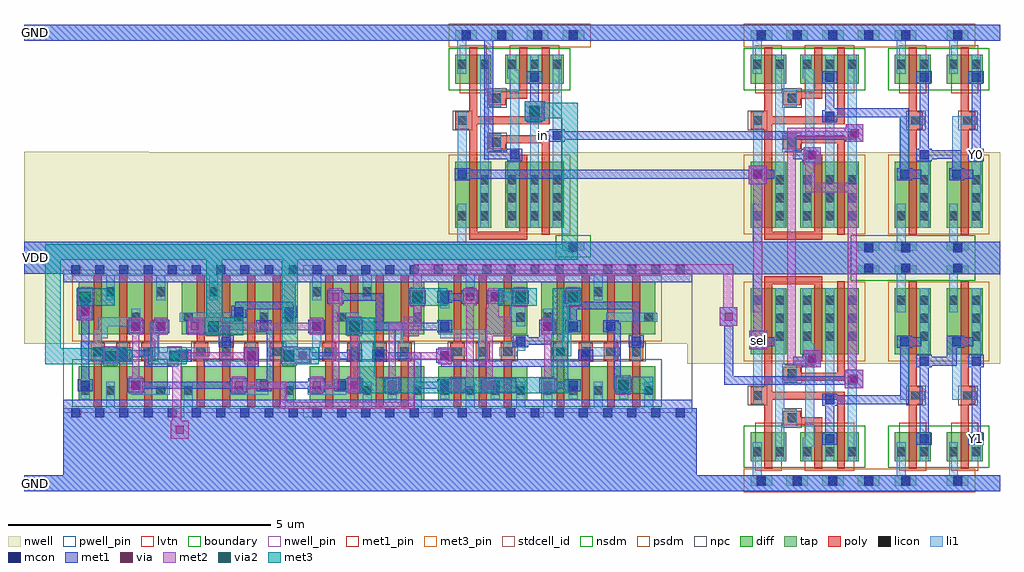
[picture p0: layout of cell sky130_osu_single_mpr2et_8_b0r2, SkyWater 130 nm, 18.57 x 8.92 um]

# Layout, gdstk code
import gdstk
lib = gdstk.Library(unit=1e-6, precision=1e-09)
def R(c, l, rs):  # rectangles x0, y0, x1, y1
    for r in rs: c.add(gdstk.rectangle(r[:2], r[2:], *l))
def A(c, l, x, y, w, h, nx, ny, dx, dy):  # array of equal rectangles
    R(c, l, [(x+i*dx, y+j*dy, x+i*dx+w, y+j*dy+h) for i in range(nx) for j in range(ny)])
nwell_pin = (64, 16)
nwell = (64, 20)
diff = (65, 20)
tap = (65, 44)
poly = (66, 20)
licon = (66, 44)
li1 = (67, 20)
mcon = (67, 44)
met1_pin = (68, 16)
met1 = (68, 20)
via = (68, 44)
met2 = (69, 20)
via2 = (69, 44)
met3_pin = (70, 16)
met3 = (70, 20)
stdcell_id = (81, 4)
nsdm = (93, 44)
psdm = (94, 20)
npc = (95, 20)
pwell_pin = (122, 16)
lvtn = (125, 44)
boundary = (235, 4)

sky130_osu_sc_12t_hs__mu = lib.new_cell('sky130_osu_sc_12T_hs__mux2_1')
R(sky130_osu_sc_12t_hs__mu, nwell, [(-0.045,2.425,2.765,4.515)])
R(sky130_osu_sc_12t_hs__mu, diff, [(0.135,0.575,0.815,1.125), (1.085,0.575,2.195,1.125), (0.135,2.605,0.815,3.865), (1.085,2.605,2.195,3.865)])
A(sky130_osu_sc_12t_hs__mu, tap, 0.135, 0.105, 0.41, 0.2, 4, 1, 0.68, 0)
R(sky130_osu_sc_12t_hs__mu, tap, [(2.17,4.135,2.585,4.305)])
R(sky130_osu_sc_12t_hs__mu, poly, [(0.4,0.445,0.55,1.66), (1.35,0.445,1.5,1.265), (1.78,0.445,1.93,1.745), (0.76,1.265,1.5,1.415), (0.76,1.415,1.09,1.535), (0.135,1.66,0.55,1.745), (0.135,1.745,1.93,1.895), (0.135,1.895,0.55,1.99), (0.4,1.99,0.55,3.94), (0.76,2.105,1.93,2.255), (0.76,2.255,1.09,2.375), (1.78,2.255,1.93,3.995), (1.35,2.475,1.5,3.94), (0.4,3.94,1.5,4.09)])
A(sky130_osu_sc_12t_hs__mu, licon, 0.255, 0.135, 0.17, 0.17, 4, 1, 0.68, 0)
A(sky130_osu_sc_12t_hs__mu, licon, 1.125, 0.67, 0.17, 0.17, 3, 2, 0.43, 2.2)
A(sky130_osu_sc_12t_hs__mu, licon, 0.605, 2.87, 0.17, 0.17, 1, 3, 0, 0.34)
A(sky130_osu_sc_12t_hs__mu, licon, 1.125, 3.21, 0.17, 0.17, 3, 2, 0.43, 0.34)
R(sky130_osu_sc_12t_hs__mu, licon, [(0.175,0.67,0.345,0.84), (0.605,0.67,0.775,0.84), (0.84,1.315,1.01,1.485), (0.185,1.74,0.355,1.91), (0.84,2.155,1.01,2.325), (0.175,3.55,0.345,3.72), (2.295,4.135,2.465,4.305)])
R(sky130_osu_sc_12t_hs__mu, li1, [(0,0,2.75,0.305), (0.175,0.305,0.345,0.935), (0.605,0.575,0.775,1.235), (1.125,0.575,1.295,0.855), (1.555,0.575,1.725,1.085), (1.985,0.575,2.155,3.865), (1.125,0.855,1.35,1.025), (1.18,1.025,1.35,2.635), (0.605,1.235,1.01,1.565), (0.605,1.565,0.775,2.075), (1.555,1.655,1.725,3.865), (0.185,1.66,0.355,2.935), (0.605,2.075,1.01,2.405), (0.605,2.405,0.775,3.865), (1.125,2.635,1.35,2.805), (1.125,2.805,1.295,3.865), (0.175,3.405,0.345,4.135), (0,4.135,2.75,4.44)])
A(sky130_osu_sc_12t_hs__mu, mcon, 0.255, 0.105, 0.17, 0.17, 4, 1, 0.68, 0)
R(sky130_osu_sc_12t_hs__mu, mcon, [(1.555,0.915,1.725,1.085), (1.555,1.655,1.725,1.825), (1.985,2.025,2.155,2.195), (1.18,2.395,1.35,2.565), (0.185,2.765,0.355,2.935), (2.295,4.165,2.465,4.335)])
R(sky130_osu_sc_12t_hs__mu, met1, [(0,0,2.75,0.305), (1.495,0.885,1.785,1.115), (1.555,1.115,1.725,1.625), (1.495,1.625,1.785,1.855), (1.925,1.995,2.215,2.025), (1.755,2.025,2.215,2.195), (1.925,2.195,2.215,2.225), (1.12,2.365,1.41,2.395), (0.95,2.395,1.41,2.565), (1.12,2.565,1.41,2.595), (0.125,2.735,0.415,2.765), (0.125,2.765,0.585,2.935), (0.125,2.935,0.415,2.965), (0,4.135,2.75,4.44)])
R(sky130_osu_sc_12t_hs__mu, nsdm, [(0.01,0.45,2.32,1.25), (2.045,4.01,2.71,4.43)])
R(sky130_osu_sc_12t_hs__mu, psdm, [(0.01,-0.02,2.71,0.43), (0.01,2.48,2.32,3.99)])
R(sky130_osu_sc_12t_hs__mu, npc, [(0.74,1.215,1.11,1.585), (0.085,1.64,0.455,2.01), (0.74,2.055,1.11,2.425)])
R(sky130_osu_sc_12t_hs__mu, lvtn, [(0.22,0.395,0.73,1.305), (1.17,0.395,2.11,1.305)])
sky130_osu_sc_12t_hs__mu.add(gdstk.Label('S0', (0.27,2.85), layer=68, texttype=5))
sky130_osu_sc_12t_hs__mu.add(gdstk.Label('Y', (1.64,1.74), layer=68, texttype=5))
sky130_osu_sc_12t_hs__mu.add(gdstk.Label('A0', (1.265,2.48), layer=68, texttype=5))
sky130_osu_sc_12t_hs__mu.add(gdstk.Label('A1', (2.07,2.11), layer=68, texttype=5))
sky130_osu_sc_12t_hs__mu.add(gdstk.Label('VDD', (2.38,4.2), layer=68, texttype=5))
sky130_osu_sc_12t_hs__mu.add(gdstk.Label('GND ', (0.34,0.24), layer=68, texttype=5))

sky130_osu_sc_12t_hs__fi = lib.new_cell('sky130_osu_sc_12T_hs__fill_2')
R(sky130_osu_sc_12t_hs__fi, nwell, [(-0.035,2.425,0.25,4.485)])
R(sky130_osu_sc_12t_hs__fi, li1, [(0,0,0.22,0.305), (0,4.135,0.22,4.44)])
R(sky130_osu_sc_12t_hs__fi, met1, [(0,0,0.22,0.305), (0,4.135,0.22,4.44)])
sky130_osu_sc_12t_hs__fi.add(gdstk.Label('vdd', (0.11,4.28), layer=68, texttype=5))
sky130_osu_sc_12t_hs__fi.add(gdstk.Label('gnd', (0.115,0.14), layer=68, texttype=5))

c_sky130_osu_sc_12t_hs__fi = lib.new_cell('sky130_osu_sc_12T_hs__fill_8')
R(c_sky130_osu_sc_12t_hs__fi, nwell, [(-0.045,2.425,0.895,4.485)])
R(c_sky130_osu_sc_12t_hs__fi, li1, [(0,0,0.88,0.305), (0,4.135,0.88,4.44)])
R(c_sky130_osu_sc_12t_hs__fi, met1, [(0,0,0.88,0.305), (0,4.135,0.88,4.44)])
c_sky130_osu_sc_12t_hs__fi.add(gdstk.Label('vdd', (0.555,4.295), layer=68, texttype=5))
c_sky130_osu_sc_12t_hs__fi.add(gdstk.Label('gnd', (0.56,0.14), layer=68, texttype=5))

sky130_osu_sc_12t_hs__in = lib.new_cell('sky130_osu_sc_12T_hs__inv_1')
R(sky130_osu_sc_12t_hs__in, nwell, [(-0.05,2.425,0.995,4.515)])
R(sky130_osu_sc_12t_hs__in, diff, [(0.135,0.575,0.815,1.125), (0.135,2.605,0.815,3.865)])
R(sky130_osu_sc_12t_hs__in, tap, [(0.135,0.105,0.545,0.305), (0.13,4.135,0.55,4.305)])
R(sky130_osu_sc_12t_hs__in, poly, [(0.4,0.445,0.55,1.66), (0.4,1.66,0.67,1.99), (0.4,1.99,0.55,3.995)])
A(sky130_osu_sc_12t_hs__in, licon, 0.605, 2.87, 0.17, 0.17, 1, 3, 0, 0.34)
R(sky130_osu_sc_12t_hs__in, licon, [(0.255,0.135,0.425,0.305), (0.175,0.67,0.345,0.84), (0.605,0.67,0.775,0.84), (0.45,1.74,0.62,1.91), (0.175,3.55,0.345,3.72), (0.255,4.135,0.425,4.305)])
R(sky130_osu_sc_12t_hs__in, li1, [(0,0,0.99,0.305), (0.175,0.305,0.345,0.935), (0.605,0.575,0.775,1.085), (0.235,1.74,0.7,1.91), (0.235,1.91,0.405,2.935), (0.605,2.395,0.775,3.865), (0.175,3.405,0.345,4.135), (0,4.135,0.99,4.44)])
R(sky130_osu_sc_12t_hs__in, mcon, [(0.255,0.105,0.425,0.275), (0.605,0.915,0.775,1.085), (0.605,2.395,0.775,2.565), (0.235,2.765,0.405,2.935), (0.255,4.165,0.425,4.335)])
R(sky130_osu_sc_12t_hs__in, met1, [(0,0,0.99,0.305), (0.545,0.885,0.835,1.115), (0.605,1.115,0.775,2.365), (0.545,2.365,0.835,2.595), (0.175,2.735,0.465,2.765), (0.175,2.765,0.635,2.935), (0.175,2.935,0.465,2.965), (0,4.135,0.99,4.44)])
R(sky130_osu_sc_12t_hs__in, nsdm, [(0.01,0.45,0.94,1.25), (0.005,4.01,0.675,4.43)])
R(sky130_osu_sc_12t_hs__in, psdm, [(0.01,-0.02,0.67,0.43), (0.01,2.48,0.94,3.99)])
R(sky130_osu_sc_12t_hs__in, npc, [(0.35,1.64,0.72,2.01)])
R(sky130_osu_sc_12t_hs__in, lvtn, [(0.22,0.395,0.73,1.305)])
sky130_osu_sc_12t_hs__in.add(gdstk.Label('Y', (0.755,1.725), layer=68, texttype=5))
sky130_osu_sc_12t_hs__in.add(gdstk.Label('A', (0.32,2.85), layer=68, texttype=5))
sky130_osu_sc_12t_hs__in.add(gdstk.Label('VDD', (0.34,4.2), layer=68, texttype=5))
sky130_osu_sc_12t_hs__in.add(gdstk.Label('GND', (0.34,0.24), layer=68, texttype=5))

scs130hd_mpr2et_8 = lib.new_cell('scs130hd_mpr2et_8')
A(scs130hd_mpr2et_8, nwell_pin, 2.125, 2.635, 0.17, 0.17, 3, 1, 2.44, 0)
R(scs130hd_mpr2et_8, nwell_pin, [(0.165,2.635,0.335,2.805), (8.965,2.635,9.135,2.805)])
R(scs130hd_mpr2et_8, nwell, [(-0.24,1.305,12.2,2.91)])
R(scs130hd_mpr2et_8, diff, [(0.29,0.235,1.98,0.885), (2.25,0.235,4.42,0.885), (4.69,0.235,6.86,0.885), (7.13,0.235,8.82,0.885), (9.09,0.235,11.26,0.885), (0.29,1.485,1.98,2.485), (2.25,1.485,4.42,2.485), (4.69,1.485,6.86,2.485), (7.13,1.485,8.82,2.485), (9.09,1.485,11.26,2.485)])
A(scs130hd_mpr2et_8, poly, 0.58, 0.105, 0.15, 0.89, 3, 1, 0.48, 0)
A(scs130hd_mpr2et_8, poly, 2.54, 0.105, 0.15, 0.89, 4, 1, 0.48, 0)
A(scs130hd_mpr2et_8, poly, 4.98, 0.105, 0.15, 0.89, 4, 1, 0.48, 0)
A(scs130hd_mpr2et_8, poly, 7.42, 0.105, 0.15, 0.89, 3, 1, 0.48, 0)
A(scs130hd_mpr2et_8, poly, 9.38, 0.105, 0.15, 0.89, 4, 1, 0.48, 0)
A(scs130hd_mpr2et_8, poly, 0.52, 0.995, 0.27, 0.33, 3, 1, 0.48, 0)
A(scs130hd_mpr2et_8, poly, 2.48, 0.995, 0.27, 0.33, 4, 1, 0.48, 0)
A(scs130hd_mpr2et_8, poly, 4.92, 0.995, 0.27, 0.33, 4, 1, 0.48, 0)
A(scs130hd_mpr2et_8, poly, 7.36, 0.995, 0.27, 0.33, 3, 1, 0.48, 0)
A(scs130hd_mpr2et_8, poly, 9.32, 0.995, 0.27, 0.33, 4, 1, 0.48, 0)
A(scs130hd_mpr2et_8, poly, 0.58, 1.325, 0.15, 1.29, 3, 1, 0.48, 0)
A(scs130hd_mpr2et_8, poly, 2.54, 1.325, 0.15, 1.29, 4, 1, 0.48, 0)
A(scs130hd_mpr2et_8, poly, 4.98, 1.325, 0.15, 1.29, 4, 1, 0.48, 0)
A(scs130hd_mpr2et_8, poly, 7.42, 1.325, 0.15, 1.29, 3, 1, 0.48, 0)
A(scs130hd_mpr2et_8, poly, 9.38, 1.325, 0.15, 1.29, 4, 1, 0.48, 0)
A(scs130hd_mpr2et_8, licon, 2.29, 0.335, 0.17, 0.17, 3, 1, 0.96, 0)
A(scs130hd_mpr2et_8, licon, 5.69, 0.335, 0.17, 0.17, 3, 1, 0.48, 0)
A(scs130hd_mpr2et_8, licon, 7.17, 0.335, 0.17, 0.17, 4, 1, 0.48, 0)
A(scs130hd_mpr2et_8, licon, 9.13, 0.335, 0.17, 0.17, 5, 1, 0.48, 0)
A(scs130hd_mpr2et_8, licon, 0.57, 1.075, 0.17, 0.17, 3, 1, 0.48, 0)
A(scs130hd_mpr2et_8, licon, 2.53, 1.075, 0.17, 0.17, 4, 1, 0.48, 0)
A(scs130hd_mpr2et_8, licon, 4.97, 1.075, 0.17, 0.17, 4, 1, 0.48, 0)
A(scs130hd_mpr2et_8, licon, 7.41, 1.075, 0.17, 0.17, 3, 1, 0.48, 0)
A(scs130hd_mpr2et_8, licon, 9.37, 1.075, 0.17, 0.17, 4, 1, 0.48, 0)
A(scs130hd_mpr2et_8, licon, 3.25, 1.725, 0.17, 0.17, 3, 1, 0.48, 0)
R(scs130hd_mpr2et_8, licon, [(0.33,0.335,0.5,0.505), (0.81,0.335,0.98,0.505), (1.77,0.335,1.94,0.505), (4.73,0.335,4.9,0.505), (1.29,1.725,1.46,1.895), (2.29,1.725,2.46,1.895), (5.21,1.725,5.38,1.895), (6.65,1.725,6.82,1.895), (8.61,1.725,8.78,1.895), (9.13,1.725,9.3,1.895), (11.05,1.725,11.22,1.895), (0.33,1.865,0.5,2.035), (7.17,2.065,7.34,2.235), (0.81,2.215,0.98,2.385), (1.77,2.215,1.94,2.385), (2.77,2.215,2.94,2.385), (4.73,2.215,4.9,2.385), (5.69,2.215,5.86,2.385), (7.65,2.215,7.82,2.385), (10.09,2.215,10.26,2.385)])
A(scs130hd_mpr2et_8, li1, 9.13, 0.085, 0.17, 0.5, 3, 1, 0.96, 0)
R(scs130hd_mpr2et_8, li1, [(0,-0.085,11.96,0.085), (0.81,0.085,0.98,0.585), (2.29,0.085,2.46,0.585), (4.21,0.085,4.38,0.585), (5.69,0.085,5.86,0.585), (6.65,0.085,6.82,0.585), (7.65,0.085,7.82,0.585), (8.61,0.085,8.78,0.585), (0.33,0.255,0.5,0.605), (6.17,0.255,6.34,0.605), (7.17,0.255,7.34,0.605), (8.13,0.255,8.3,0.605), (9.61,0.255,9.78,0.605), (10.57,0.255,10.74,0.605), (1.29,0.335,2.02,0.505), (3.17,0.335,3.9,0.505), (4.65,0.335,5.38,0.505), (1.29,0.505,1.46,0.605), (3.73,0.505,3.9,0.605), (5.21,0.505,5.38,0.605), (0.57,0.995,0.74,1.075), (1.05,0.995,1.22,1.325), (2.205,0.995,2.375,1.075), (3.01,0.995,3.18,1.445), (3.49,0.995,3.66,1.325), (4.21,0.995,4.38,1.075), (5.45,0.995,5.62,1.325), (5.93,0.995,6.1,1.325), (6.41,0.995,6.58,1.075), (7.17,0.995,7.34,1.075), (7.89,0.995,8.06,1.415), (9.85,0.995,10.02,1.075), (10.81,0.995,10.98,1.445), (0.33,1.075,0.74,1.345), (1.45,1.075,1.82,1.245), (2.205,1.075,2.78,1.245), (3.89,1.075,4.38,1.245), (4.73,1.075,5.22,1.245), (6.29,1.075,6.58,1.325), (7.17,1.075,7.66,1.245), (8.29,1.075,8.62,1.175), (9.29,1.075,9.66,1.245), (9.85,1.075,10.58,1.245), (8.29,1.175,8.78,1.245), (1.65,1.245,1.82,1.555), (4.73,1.245,4.9,1.725), (8.37,1.245,8.78,1.345), (9.49,1.245,9.66,1.555), (9.85,1.245,10.02,1.325), (6.29,1.325,6.46,1.555), (0.57,1.345,0.74,1.415), (8.61,1.345,8.78,1.445), (0.57,1.415,0.84,1.585), (7.17,1.415,8.06,1.585), (1.29,1.555,1.46,1.64), (1.65,1.555,1.94,1.725), (3.73,1.555,3.9,1.975), (5.45,1.555,6.46,1.725), (9.13,1.555,9.3,1.975), (9.49,1.555,9.78,1.725), (10.33,1.555,10.5,1.725), (0.67,1.585,0.84,1.64), (7.17,1.585,7.34,1.725), (0.67,1.64,1.46,1.81), (4.21,1.645,4.38,2.005), (6.65,1.645,6.82,2.285), (8.61,1.645,8.78,1.725), (2.21,1.725,3.5,1.895), (5.13,1.725,5.62,1.895), (8.49,1.725,8.78,2.115), (9.49,1.725,9.66,2.115), (10.33,1.725,11.3,1.895), (0.33,1.785,0.5,2.145), (1.29,1.81,1.46,1.975), (3.25,1.895,3.42,2.005), (7.17,1.985,7.34,2.315), (8.13,2.115,8.78,2.285), (9.49,2.115,9.78,2.285), (0.81,2.135,0.98,2.635), (1.77,2.135,1.94,2.635), (2.77,2.135,2.94,2.635), (4.73,2.135,4.9,2.635), (5.69,2.135,5.86,2.635), (7.65,2.135,7.82,2.635), (10.09,2.135,10.26,2.635), (0,2.635,11.96,2.805)])
A(scs130hd_mpr2et_8, mcon, 0.145, -0.085, 0.17, 0.17, 26, 2, 0.46, 2.72)
A(scs130hd_mpr2et_8, mcon, 7.17, 0.435, 0.17, 0.17, 1, 4, 0, 0.56)
R(scs130hd_mpr2et_8, mcon, [(0.33,0.435,0.5,0.605), (1.29,0.435,1.46,0.605), (3.73,0.435,3.9,0.605), (5.21,0.435,5.38,0.605), (6.17,0.435,6.34,0.605), (8.13,0.435,8.3,0.605), (9.61,0.435,9.78,0.605), (10.57,0.435,10.74,0.605), (1.05,0.995,1.22,1.165), (2.205,0.995,2.375,1.165), (3.49,0.995,3.66,1.165), (4.21,0.995,4.38,1.165), (5.45,0.995,5.62,1.165), (5.93,0.995,6.1,1.165), (9.85,0.995,10.02,1.165), (3.01,1.275,3.18,1.445), (8.61,1.275,8.78,1.445), (10.81,1.275,10.98,1.445), (1.29,1.555,1.46,1.725), (1.77,1.555,1.94,1.725), (3.73,1.555,3.9,1.725), (4.73,1.555,4.9,1.725), (5.45,1.555,5.62,1.725), (9.13,1.555,9.3,1.725), (9.61,1.555,9.78,1.725), (10.33,1.555,10.5,1.725), (3.25,1.835,3.42,2.005), (4.21,1.835,4.38,2.005), (0.33,1.975,0.5,2.145), (6.65,2.115,6.82,2.285), (8.13,2.115,8.3,2.285), (8.61,2.115,8.78,2.285), (9.61,2.115,9.78,2.285)])
R(scs130hd_mpr2et_8, met1_pin, [(0.155,-0.085,0.325,0.085), (0.155,2.635,0.325,2.805)])
R(scs130hd_mpr2et_8, met1, [(0,-0.24,11.96,0.24), (1.215,0.39,1.535,0.45), (3.175,0.39,3.495,0.45), (4.655,0.39,4.975,0.45), (5.375,0.39,5.695,0.405), (6.095,0.39,6.415,0.65), (7.335,0.39,7.655,0.405), (7.935,0.39,8.615,0.65), (9.055,0.39,9.375,0.45), (10.495,0.39,10.815,0.45), (0.27,0.405,0.56,0.635), (3.67,0.405,3.96,0.45), (5.15,0.405,5.695,0.635), (7.11,0.405,7.655,0.45), (9.55,0.405,9.84,0.45), (1.215,0.45,3.495,0.59), (3.67,0.45,4.975,0.59), (6.665,0.45,7.655,0.59), (9.055,0.45,9.84,0.59), (10.465,0.45,10.815,0.65), (1.215,0.59,1.535,0.65), (3.175,0.59,3.495,0.65), (3.67,0.59,4.005,0.635), (4.655,0.59,4.975,0.65), (6.665,0.59,6.805,1.01), (7.11,0.59,7.655,0.635), (9.055,0.59,9.375,0.65), (9.55,0.59,9.84,0.635), (0.335,0.635,0.49,1.76), (3.865,0.635,4.005,1.525), (5.375,0.635,5.695,0.65), (7.335,0.635,7.655,0.65), (10.465,0.65,10.605,1.525), (1.545,0.87,2.185,0.965), (2.665,0.87,3.72,1.01), (7.185,0.87,10.005,0.95), (0.735,0.95,1.055,0.965), (4.395,0.95,4.715,0.965), (7.095,0.95,10.005,0.965), (0.735,0.965,1.28,1.05), (1.545,0.965,2.435,1.01), (4.15,0.965,4.715,1.01), (5.39,0.965,5.68,1.01), (5.87,0.965,6.16,1.01), (7.095,0.965,10.08,1.01), (1.545,1.01,1.685,1.05), (2.045,1.01,2.435,1.15), (3.43,1.01,3.72,1.24), (4.15,1.01,5.68,1.15), (5.87,1.01,6.805,1.15), (7.095,1.01,7.415,1.21), (9.79,1.01,10.08,1.195), (0.735,1.05,1.685,1.19), (2.145,1.15,2.435,1.195), (4.15,1.15,4.715,1.195), (5.39,1.15,5.68,1.195), (5.87,1.15,6.16,1.195), (0.735,1.19,1.28,1.195), (0.735,1.195,1.055,1.21), (4.395,1.195,4.715,1.21), (2.95,1.245,3.24,1.475), (8.55,1.245,8.84,1.29), (10.75,1.245,11.04,1.475), (8.55,1.29,9.285,1.43), (8.55,1.43,8.84,1.475), (9.055,1.43,9.285,1.51), (2.95,1.475,3.165,1.51), (10.825,1.475,10.965,1.965), (1.215,1.51,1.535,1.77), (1.695,1.51,2.015,1.77), (2.335,1.51,3.165,1.65), (4.655,1.51,4.975,1.77), (5.375,1.51,5.695,1.77), (9.055,1.51,9.375,1.77), (3.67,1.525,4.005,1.71), (7.11,1.525,7.4,1.57), (9.55,1.525,9.84,1.755), (10.27,1.525,10.605,1.71), (5.945,1.57,7.4,1.71), (2.335,1.65,2.655,1.77), (3.67,1.71,3.96,1.755), (5.945,1.71,6.085,2.13), (7.11,1.71,7.4,1.755), (10.27,1.71,10.56,1.755), (9.625,1.755,9.765,1.965), (0.255,1.76,0.575,2.175), (3.19,1.805,3.48,1.965), (4.15,1.805,4.44,1.965), (3.19,1.965,4.44,2.035), (9.625,1.965,10.965,2.07), (3.265,2.035,4.365,2.105), (5.015,2.07,5.335,2.13), (6.575,2.07,6.895,2.33), (7.575,2.07,7.895,2.13), (8.055,2.07,8.375,2.33), (8.535,2.07,8.855,2.33), (9.535,2.07,10.965,2.105), (7.11,2.085,7.4,2.13), (9.535,2.105,9.855,2.33), (5.015,2.13,6.085,2.27), (7.11,2.13,7.895,2.27), (5.015,2.27,5.335,2.33), (7.11,2.27,7.4,2.315), (7.575,2.27,7.895,2.33), (0,2.48,11.96,2.96)])
A(scs130hd_mpr2et_8, via, 4.74, 0.445, 0.15, 0.15, 3, 1, 0.72, 0)
A(scs130hd_mpr2et_8, via, 7.66, 2.125, 0.15, 0.15, 3, 1, 0.48, 0)
R(scs130hd_mpr2et_8, via, [(1.3,0.445,1.45,0.595), (3.26,0.445,3.41,0.595), (7.42,0.445,7.57,0.595), (8.02,0.445,8.17,0.595), (9.14,0.445,9.29,0.595), (10.58,0.445,10.73,0.595), (0.82,1.005,0.97,1.155), (3.5,1.005,3.65,1.155), (4.48,1.005,4.63,1.155), (7.18,1.005,7.33,1.155), (1.3,1.565,1.45,1.715), (1.78,1.565,1.93,1.715), (2.42,1.565,2.57,1.715), (4.74,1.565,4.89,1.715), (5.46,1.565,5.61,1.715), (9.14,1.565,9.29,1.715), (0.34,1.845,0.49,1.995), (5.1,2.125,5.25,2.275), (6.66,2.125,6.81,2.275), (9.62,2.125,9.77,2.275)])
R(scs130hd_mpr2et_8, met2, [(4.105,0.07,6.685,0.21), (4.105,0.21,4.245,0.45), (6.545,0.21,6.685,1.01), (10.515,0.335,10.795,0.705), (1.245,0.36,1.505,0.68), (3.205,0.36,3.465,0.45), (4.685,0.36,4.945,0.45), (5.405,0.36,5.665,0.68), (6.125,0.36,6.385,0.68), (7.365,0.36,7.625,0.45), (7.965,0.36,8.225,0.68), (9.085,0.36,9.345,0.68), (3.205,0.45,4.245,0.59), (4.685,0.45,5.245,0.59), (7.365,0.45,7.805,0.68), (3.205,0.59,3.465,0.68), (4.685,0.59,4.945,0.68), (5.105,0.59,5.245,2.04), (1.305,0.68,1.445,1.48), (5.465,0.68,5.605,1.455), (6.185,0.68,6.325,1.57), (7.665,0.68,7.805,2.04), (8.025,0.68,8.165,1.455), (9.145,0.68,9.285,1.48), (0.755,0.895,1.035,1.265), (1.975,0.895,2.255,1.01), (4.155,0.895,4.435,0.92), (3.445,0.92,3.705,1.01), (4.155,0.92,4.685,1.24), (7.125,0.92,7.385,1.01), (1.665,1.01,3.705,1.15), (6.545,1.01,7.385,1.15), (1.665,1.15,1.805,1.48), (1.975,1.15,2.255,1.265), (3.445,1.15,3.705,1.24), (7.125,1.15,7.385,1.24), (4.155,1.24,4.435,1.265), (2.715,1.455,2.995,1.48), (5.395,1.455,5.675,1.825), (6.475,1.455,6.755,1.57), (8.025,1.455,8.525,1.825), (1.245,1.48,1.505,1.8), (1.665,1.48,1.985,1.71), (2.365,1.48,2.995,1.57), (4.685,1.48,4.945,1.57), (9.085,1.48,9.345,1.8), (2.365,1.57,4.945,1.71), (6.185,1.57,6.805,1.71), (1.725,1.71,1.985,1.8), (2.365,1.71,2.995,1.8), (4.685,1.71,4.945,1.8), (6.475,1.71,6.805,1.825), (0.285,1.76,0.545,2.015), (2.715,1.8,2.995,1.825), (6.665,1.825,6.805,2.015), (8.025,1.825,8.285,1.99), (8.085,1.99,8.285,2.04), (0.275,2.015,0.555,2.385), (6.595,2.015,6.875,2.385), (8.555,2.015,8.835,2.385), (9.555,2.015,9.835,2.385), (5.045,2.04,5.305,2.36), (7.605,2.04,7.865,2.36), (8.085,2.04,8.345,2.36)])
R(scs130hd_mpr2et_8, via2, [(10.555,0.42,10.755,0.62), (0.795,0.98,0.995,1.18), (2.015,0.98,2.215,1.18), (4.195,0.98,4.395,1.18), (2.755,1.54,2.955,1.74), (5.435,1.54,5.635,1.74), (0.315,2.1,0.515,2.3), (6.635,2.1,6.835,2.3), (8.595,2.1,8.795,2.3), (9.595,2.1,9.795,2.3)])
R(scs130hd_mpr2et_8, met3_pin, [(10.49,0.355,11.22,0.685), (0.58,0.915,1.31,1.245), (1.615,0.915,2.345,1.245), (4.13,0.915,4.86,1.245), (2.69,1.475,3.42,1.805), (0.25,2.035,0.98,2.365), (6.57,2.035,7.3,2.365), (8.27,2.035,9,2.365)])
R(scs130hd_mpr2et_8, met3, [(10.49,0.355,11.22,0.685), (5.625,0.37,9.605,0.67), (5.625,0.67,5.925,1.475), (9.305,0.67,9.605,2.035), (0.58,0.915,1.31,1.245), (1.615,0.915,2.345,1.245), (4.13,0.915,4.86,1.245), (2.69,1.475,3.42,1.805), (5.37,1.475,5.925,1.805), (0.25,2.035,0.98,2.365), (6.57,2.035,7.3,2.365), (8.27,2.035,9,2.365), (9.305,2.035,9.86,2.365)])
R(scs130hd_mpr2et_8, stdcell_id, [(0,0,11.96,2.72)])
R(scs130hd_mpr2et_8, nsdm, [(0.165,0.11,11.385,1.01)])
R(scs130hd_mpr2et_8, psdm, [(0.165,1.36,11.385,2.61)])
R(scs130hd_mpr2et_8, npc, [(0.47,0.975,1.8,1.345), (2.43,0.975,4.24,1.345), (4.87,0.975,6.68,1.345), (7.31,0.975,8.64,1.345), (9.27,0.975,11.08,1.345)])
A(scs130hd_mpr2et_8, pwell_pin, 2.125, -0.085, 0.17, 0.17, 3, 1, 2.44, 0)
R(scs130hd_mpr2et_8, pwell_pin, [(0.165,-0.085,0.335,0.085), (8.965,-0.085,9.135,0.085)])
R(scs130hd_mpr2et_8, boundary, [(0,0,11.96,2.72)])
scs130hd_mpr2et_8.add(gdstk.Label('VPB', (0.25,2.72), layer=64, texttype=5))
scs130hd_mpr2et_8.add(gdstk.Label('VPB', (2.21,2.72), layer=64, texttype=5))
scs130hd_mpr2et_8.add(gdstk.Label('VPB', (4.65,2.72), layer=64, texttype=5))
scs130hd_mpr2et_8.add(gdstk.Label('VPB', (7.09,2.72), layer=64, texttype=5))
scs130hd_mpr2et_8.add(gdstk.Label('VPB', (9.05,2.72), layer=64, texttype=5))
scs130hd_mpr2et_8.add(gdstk.Label('VNB', (0.25,0), layer=64, texttype=59))
scs130hd_mpr2et_8.add(gdstk.Label('VNB', (2.21,0), layer=64, texttype=59))
scs130hd_mpr2et_8.add(gdstk.Label('VNB', (4.65,0), layer=64, texttype=59))
scs130hd_mpr2et_8.add(gdstk.Label('VNB', (7.09,0), layer=64, texttype=59))
scs130hd_mpr2et_8.add(gdstk.Label('VNB', (9.05,0), layer=64, texttype=59))
scs130hd_mpr2et_8.add(gdstk.Label('B0', (1.98,1.08), layer=70, texttype=5))
scs130hd_mpr2et_8.add(gdstk.Label('A0', (0.945,1.08), layer=70, texttype=5))
scs130hd_mpr2et_8.add(gdstk.Label('B1', (3.055,1.64), layer=70, texttype=5))
scs130hd_mpr2et_8.add(gdstk.Label('R1', (8.635,2.2), layer=70, texttype=5))
scs130hd_mpr2et_8.add(gdstk.Label('R2', (6.935,2.2), layer=70, texttype=5))
scs130hd_mpr2et_8.add(gdstk.Label('R0', (0.615,2.2), layer=70, texttype=5))
scs130hd_mpr2et_8.add(gdstk.Label('R3', (10.855,0.52), layer=70, texttype=5))
scs130hd_mpr2et_8.add(gdstk.Label('A1', (4.495,1.08), layer=70, texttype=5))
scs130hd_mpr2et_8.add(gdstk.Label('vpwr', (0.24,2.72), layer=68, texttype=5))
scs130hd_mpr2et_8.add(gdstk.Label('vgnd', (0.24,0), layer=68, texttype=5))

sky130_osu_single_mpr2et = lib.new_cell('sky130_osu_single_mpr2et_8_b0r2')
R(sky130_osu_single_mpr2et, nwell, [(0.485,2.425,1.555,4.135), (6.21,2.425,6.435,6.455), (5.465,2.565,5.615,2.74), (1.665,2.705,2.005,3.055), (-12.125,2.805,-11.38,4.14), (-9.9,2.955,-9.34,4.14), (0.475,4.135,1.605,4.445), (-12.125,4.14,-9.34,4.28), (-12.125,4.28,-9.05,4.305), (-12.125,4.305,-0.37,4.4), (-12.125,4.4,-0.205,4.445), (-12.125,4.445,1.605,4.745), (-12.125,4.745,1.555,5.94), (1.655,5.845,1.995,6.195), (-12.125,5.94,1.53,6.455), (-12.125,6.455,-9.76,6.46)])
R(sky130_osu_single_mpr2et, diff, [(5.895,0.915,6.065,1.085)])
R(sky130_osu_single_mpr2et, li1, [(-12.13,0,1.81,0.305), (6.255,0,6.435,0.305), (-11.38,0.305,0.665,1.415), (5.895,0.915,6.065,1.085), (-11.205,1.415,0.665,1.45), (-9.025,1.45,-8.83,1.595), (-6.725,1.45,-6.53,1.595), (-4.89,1.45,-4.695,1.565), (-3.05,1.45,-2.855,1.595), (-1.2,1.45,-1,1.57), (0.47,1.45,0.665,1.565), (0.475,1.565,0.665,1.585), (0.475,4.135,1.605,4.295), (6.255,4.135,6.435,4.745), (-11.38,4.14,-9.66,4.145), (-12.125,4.145,-9.66,4.285), (-12.125,4.285,-9.125,4.305), (-0.505,4.295,1.605,4.305), (-12.125,4.305,1.605,4.615), (-12.125,4.615,-0.37,4.745), (0.475,4.615,1.605,4.745), (-12.125,4.745,-9.66,4.75), (5.895,6.315,6.065,6.485), (-12.125,8.575,1.81,8.88), (6.255,8.575,6.435,8.88)])
R(sky130_osu_single_mpr2et, mcon, [(5.895,0.915,6.065,1.085), (5.895,6.315,6.065,6.485)])
R(sky130_osu_single_mpr2et, met1_pin, [(5.895,0.915,6.065,1.085), (5.895,6.315,6.065,6.485), (-2.305,6.685,-2.205,6.855)])
R(sky130_osu_single_mpr2et, met1, [(-12.13,0,1.81,0.305), (6.255,0,6.435,0.305), (-11.38,0.305,0.665,1.415), (5.895,0.915,6.065,1.085), (-11.205,1.415,0.665,1.45), (-9.025,1.45,-8.83,1.595), (-6.725,1.45,-6.53,1.595), (-4.89,1.45,-4.695,1.565), (-3.05,1.45,-2.855,1.595), (0.47,1.45,0.665,1.565), (0.475,1.565,0.665,1.585), (3.11,1.655,4.7,1.82), (3.11,1.82,3.28,1.825), (3.34,1.82,4.7,1.825), (4.535,1.825,4.7,2.735), (3.48,1.965,3.83,2.025), (1.19,2.025,3.83,2.195), (1.19,2.195,1.36,3.15), (3.48,2.195,3.83,2.315), (2.705,2.365,3.025,2.395), (2.675,2.395,3.025,2.565), (5.07,2.395,5.615,2.565), (2.705,2.565,3.025,2.685), (5.425,2.565,5.615,2.74), (1.665,2.705,2.005,3.055), (4.535,2.735,4.71,2.75), (5.425,2.74,5.53,2.965), (4.54,2.75,4.71,2.765), (4.535,2.765,4.71,2.8), (4.535,2.8,4.705,2.935), (1.1,3.15,1.44,3.5), (0.475,4.135,1.605,4.295), (6.255,4.135,6.435,4.745), (-11.38,4.14,-9.66,4.145), (-12.125,4.145,-9.66,4.285), (-12.125,4.285,-9.125,4.305), (-0.505,4.295,1.605,4.305), (-12.125,4.305,1.605,4.59), (-12.125,4.59,-2.15,4.745), (-1.805,4.59,1.605,4.615), (-1.805,4.615,-0.37,4.745), (0.475,4.615,1.605,4.745), (-12.125,4.745,-9.66,4.75), (1.655,5.845,1.995,5.945), (4.53,5.94,4.7,7.12), (-3.615,5.945,2.14,6.115), (5.535,5.945,5.695,6.145), (1.655,6.115,1.995,6.195), (5.525,6.145,5.695,6.325), (2.705,6.255,3.025,6.545), (-3.375,6.315,-2.925,6.485), (5.895,6.315,6.065,6.485), (5.075,6.32,5.235,6.325), (5.075,6.325,5.695,6.485), (-3.375,6.485,-3.205,8.575), (3.505,6.655,3.83,6.685), (-2.305,6.685,3.83,6.855), (3.505,6.855,3.83,6.98), (-2.605,7.055,-2.225,7.425), (3.11,7.055,3.34,7.12), (3.11,7.12,4.7,7.225), (3.34,7.225,4.7,7.255), (3.28,7.255,4.7,7.29), (-12.125,8.575,1.81,8.88), (6.255,8.575,6.435,8.88)])
R(sky130_osu_single_mpr2et, via, [(-9.24,1.095,-9.09,1.245), (3.58,2.065,3.73,2.215), (2.79,2.45,2.94,2.6), (1.765,2.805,1.915,2.955), (1.2,3.25,1.35,3.4), (1.755,5.945,1.905,6.095), (2.79,6.325,2.94,6.475), (3.595,6.74,3.745,6.89), (-2.495,7.165,-2.345,7.315)])
R(sky130_osu_single_mpr2et, met2, [(-9.335,1,-8.995,1.34), (-9.31,1.34,-9.14,2.535), (3.48,1.965,3.83,2.315), (3.535,2.315,3.71,5.695), (2.705,2.365,3.025,2.395), (2.39,2.395,3.025,2.565), (2.39,2.565,2.55,6.745), (2.705,2.565,3.025,2.685), (1.665,2.705,2.005,3.055), (1.74,3.055,1.91,5.845), (1.19,3.145,1.36,3.15), (1.1,3.15,1.44,3.5), (1.17,3.5,1.36,4.135), (-4.73,3.615,-4.56,4.135), (-2.775,3.72,-2.585,3.83), (-4.73,4.135,1.36,4.325), (2.735,5.695,3.71,5.87), (1.655,5.845,1.995,6.195), (2.735,5.87,2.91,6.045), (2.735,6.045,2.905,6.22), (2.705,6.22,3.025,6.545), (3.505,6.655,3.83,6.745), (2.39,6.745,3.83,6.915), (3.505,6.915,3.83,6.98), (-2.605,7.055,-2.23,7.425)])
R(sky130_osu_single_mpr2et, via2, [(-2.52,7.14,-2.32,7.34)])
R(sky130_osu_single_mpr2et, met3, [(-11.73,2.42,-10.405,2.72), (-7.225,2.43,-6.925,4.405), (-11.73,2.72,-11.43,4.405), (-8.66,3.11,-8.36,4.405), (-11.73,4.405,-1.6,4.705), (-1.9,4.705,-1.6,7.095), (-2.605,7.055,-2.23,7.095), (-2.605,7.095,-1.6,7.395), (-2.605,7.395,-2.23,7.425)])
R(sky130_osu_single_mpr2et, nsdm, [(5.24,0.45,5.3,1.25), (5.77,0.79,6.19,1.21), (4.265,4.01,4.305,4.43), (4.975,4.01,5.295,4.43), (3.6,4.43,5.965,4.45), (4.265,4.45,4.305,4.87), (4.975,4.45,5.295,4.87), (5.24,7.63,5.3,8.43)])
R(sky130_osu_single_mpr2et, psdm, [(4.265,-0.02,4.31,0.43), (4.97,-0.02,5.3,0.43), (5.24,2.48,5.3,3.99), (5.24,4.89,5.3,6.4), (4.265,8.45,4.31,8.9), (4.97,8.45,5.3,8.9)])
sky130_osu_single_mpr2et.add(gdstk.Reference(sky130_osu_sc_12t_hs__mu, (-4.06,8.88), x_reflection=True))
sky130_osu_single_mpr2et.add(gdstk.Reference(sky130_osu_sc_12t_hs__fi, (-1.26,8.88), x_reflection=True))
sky130_osu_single_mpr2et.add(gdstk.Reference(c_sky130_osu_sc_12t_hs__fi, (-0.405,8.88), x_reflection=True))
sky130_osu_single_mpr2et.add(gdstk.Reference(sky130_osu_sc_12t_hs__in, (4.3,0)))
sky130_osu_single_mpr2et.add(gdstk.Reference(sky130_osu_sc_12t_hs__in, (5.29,0)))
sky130_osu_single_mpr2et.add(gdstk.Reference(sky130_osu_sc_12t_hs__in, (5.29,8.88), x_reflection=True))
sky130_osu_single_mpr2et.add(gdstk.Reference(sky130_osu_sc_12t_hs__in, (4.3,8.88), x_reflection=True))
sky130_osu_single_mpr2et.add(gdstk.Reference(sky130_osu_sc_12t_hs__mu, (1.555,0)))
sky130_osu_single_mpr2et.add(gdstk.Reference(sky130_osu_sc_12t_hs__mu, (1.555,8.88), x_reflection=True))
sky130_osu_single_mpr2et.add(gdstk.Reference(scs130hd_mpr2et_8, (-11.38,1.5)))
sky130_osu_single_mpr2et.add(gdstk.Label('VDD', (-11.92,4.455), layer=68, texttype=5))
sky130_osu_single_mpr2et.add(gdstk.Label('VDD', (-11.87,4.455), layer=68, texttype=5))
sky130_osu_single_mpr2et.add(gdstk.Label('GND', (-11.905,8.72), layer=68, texttype=5))
sky130_osu_single_mpr2et.add(gdstk.Label('GND', (-11.905,0.16), layer=68, texttype=5))
sky130_osu_single_mpr2et.add(gdstk.Label('GND', (-11.745,0.16), layer=68, texttype=5))
sky130_osu_single_mpr2et.add(gdstk.Label('GND', (-11.915,8.73), layer=68, texttype=5))
sky130_osu_single_mpr2et.add(gdstk.Label('sel', (1.835,2.88), layer=69, texttype=5))
sky130_osu_single_mpr2et.add(gdstk.Label('in', (-2.255,6.77), layer=68, texttype=5))
sky130_osu_single_mpr2et.add(gdstk.Label('Y0', (5.98,6.4), layer=68, texttype=5))
sky130_osu_single_mpr2et.add(gdstk.Label('Y1', (5.98,1), layer=68, texttype=5))

lib.write_gds('sky130_osu_single_mpr2et_8_b0r2.gds')
